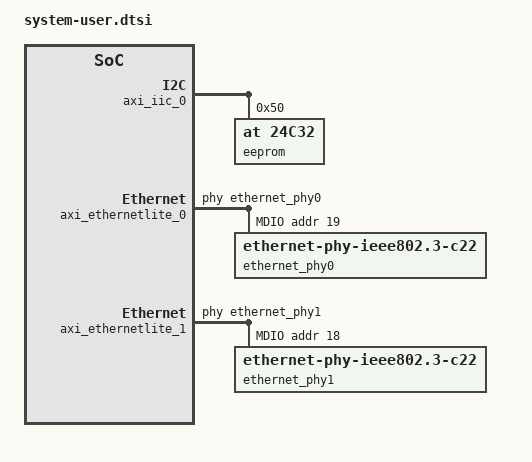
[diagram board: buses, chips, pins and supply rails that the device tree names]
/include/ "system-conf.dtsi"

&axi_iic_0 {
    eeprom: eeprom@50 {
        compatible = "at,24c32";
        reg = <0x50>;
    };
};

&axi_ethernetlite_0 {
	phy-handle = <&ethernet_phy0>;
	axi_ethernetlite_0_mdio: mdio {
		#address-cells = <1>;
		#size-cells = <0>;
		ethernet_phy0: ethernet-phy@19 {
			device_type = "ethernet-phy";
			reg = <19>;
			compatible = "ethernet-phy-ieee802.3-c22";
			phy_mode = "rmii";
			
		};
	};
};

&axi_ethernetlite_1 {
	phy-handle = <&ethernet_phy1>;
	axi_ethernetlite_1_mdio: mdio {
		#address-cells = <1>;
		#size-cells = <0>;
		ethernet_phy1: ethernet-phy@18 {
			device_type = "ethernet-phy";
			reg = <18>;
			compatible = "ethernet-phy-ieee802.3-c22";
			phy_mode = "rmii";
		};
	};
};
